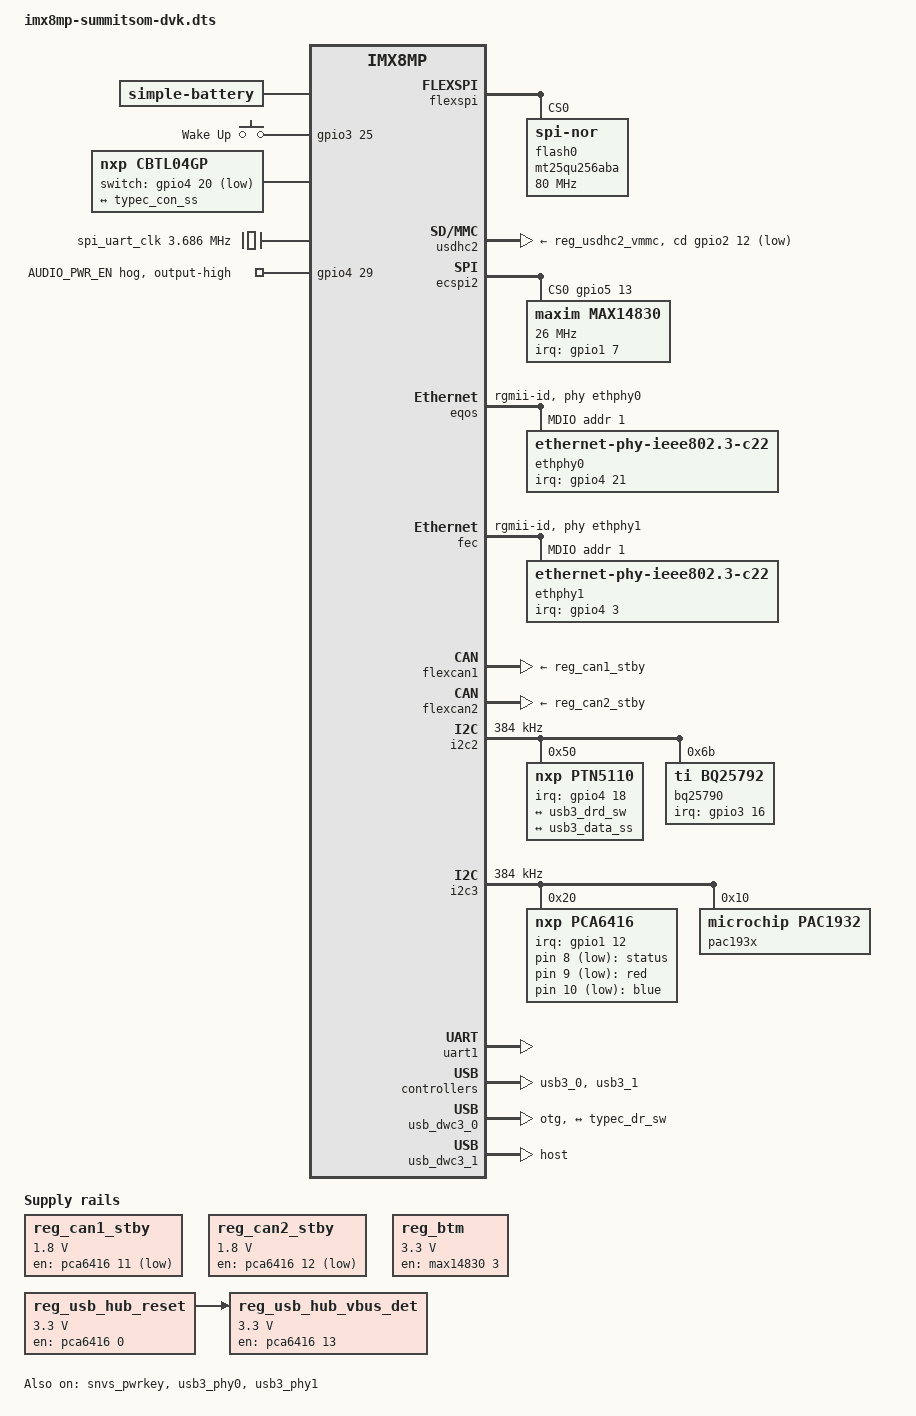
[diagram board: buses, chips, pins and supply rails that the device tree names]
// SPDX-License-Identifier: LicenseRef-Ezurio-Clause
/*
 * Copyright 2021 Ezurio
 */

/dts-v1/;

#include <dt-bindings/net/ti-dp83867.h>

#include "imx8mp-summitsom.dtsi"
#include "imx8mp-summitsom-sound.dtsi"

/ {
	aliases {
		gpio5 = &pca6416;
		gpio6 = &max14830;
	};

	bat: battery {
		compatible = "simple-battery";
		constant-charge-current-max-microamp = <3000000>;
		constant-charge-voltage-max-microvolt = <8400000>;
		precharge-current-microamp = <932000>;
		charge-term-current-microamp = <120000>;
	};

	leds: leds {
		compatible = "gpio-leds";

		status {
			label = "status";
			gpios = <&pca6416 8 GPIO_ACTIVE_LOW>;
			default-state = "on"; /* LED GREEN */
		};

		red {
			label = "red";
			gpios = <&pca6416 9 GPIO_ACTIVE_LOW>;
			default-state = "off";
		};

		blue {
			label = "blue";
			gpios = <&pca6416 10 GPIO_ACTIVE_LOW>;
			default-state = "off";
		};
	};

	gpio_charger {
		compatible = "gpio-of-helper";

		pinctrl-names = "default";
		pinctrl-0 = <&pinctrl_bq25790_misc>;

		charge_enable {
			gpio-name = "charge_enable";
			gpio = <&gpio1 14 GPIO_ACTIVE_HIGH>;
			output;
			init-low;
		};
	};

	gpio {
		compatible = "gpio-of-helper";

		bt_boot_status {
			gpio-name = "bt_boot_status";
			gpio = <&max14830 13 GPIO_ACTIVE_HIGH>;
			input;
		};

		bt_nautorun {
			gpio-name = "bt_nautorun";
			gpio = <&max14830 12 GPIO_ACTIVE_HIGH>;
			output;
			init-low;
		};

		bt_reset {
			gpio-name = "bt_reset";
			gpio = <&max14830 11 GPIO_ACTIVE_HIGH>;
			output;
			init-low;
		};

		ser_rs485_hd {
			gpio-name = "ser_rs485_hd";
			gpio = <&max14830 9 GPIO_ACTIVE_HIGH>;
			output;
			init-high;
		};

		ser_nrs232 {
			gpio-name = "ser_nrs232";
			gpio = <&max14830 7 GPIO_ACTIVE_HIGH>;
			output;
			init-low;
		};

		ser_term {
			gpio-name = "ser_term";
			gpio = <&max14830 6 GPIO_ACTIVE_HIGH>;
			output;
			init-low;
		};

		ser_nreset {
			gpio-name = "ser_nreset";
			gpio = <&max14830 8 GPIO_ACTIVE_HIGH>;
			output;
			init-high;
		};

		lte_power {
			gpio-name = "lte_power";
			gpio = <&max14830 1 GPIO_ACTIVE_HIGH>;
			output;
			init-low;
		};

		lte_on {
			gpio-name = "lte_on";
			gpio = <&pca6416 3 GPIO_ACTIVE_HIGH>;
			output;
			init-low;
		};

		lte_reset {
			gpio-name = "lte_reset";
			gpio = <&pca6416 4 GPIO_ACTIVE_HIGH>;
			output;
			init-low;
		};

		lte_airplane {
			gpio-name = "lte_airplane";
			gpio = <&pca6416 5 GPIO_ACTIVE_HIGH>;
			output;
			init-low;
		};

		lte_wakeup {
			gpio-name = "lte_wakeup";
			gpio = <&pca6416 6 GPIO_ACTIVE_HIGH>;
			output;
			init-low;
		};

		poe_type4_det {
			gpio-name = "poe_type4_det";
			gpio = <&pca6416 1 GPIO_ACTIVE_HIGH>;
			input;
		};

		poe_type2_det {
			gpio-name = "poe_type2_det";
			gpio = <&pca6416 2 GPIO_ACTIVE_HIGH>;
			input;
		};
	};

	system_wakeup {
		compatible = "gpio-keys";
		pinctrl-names = "default";
		pinctrl-0 = <&pinctrl_wakeup_keys>;

		wake-up {
			label = "Wake Up";
			interrupts-extended = <&gpio3 25 IRQ_TYPE_EDGE_FALLING>;
			interrupt-names = "irq";
			linux,code = <KEY_WAKEUP>;
			wakeup-source;
		};
	};

	reg_can1_stby: regulator-can1-stby {
		compatible = "regulator-fixed";
		regulator-name = "can1-stby";
		regulator-min-microvolt = <1800000>;
		regulator-max-microvolt = <1800000>;
		gpio = <&pca6416 11 GPIO_ACTIVE_HIGH>;
		enable-active-low;
	};

	reg_can2_stby: regulator-can2-stby {
		compatible = "regulator-fixed";
		regulator-name = "can2-stby";
		regulator-min-microvolt = <1800000>;
		regulator-max-microvolt = <1800000>;
		gpio = <&pca6416 12 GPIO_ACTIVE_HIGH>;
		enable-active-low;
	};

/*
	reg_lte: regulator-lte {
		compatible = "regulator-fixed";
		regulator-name = "VDDLTE";
		regulator-min-microvolt = <3800000>;
		regulator-max-microvolt = <3800000>;
		gpio = <&max14830 1 GPIO_ACTIVE_HIGH>;
		enable-active-high;
		regulator-always-on;
	};
*/

	reg_btm: regulator-btm {
		compatible = "regulator-fixed";
		regulator-name = "VDDBTM";
		regulator-min-microvolt = <3300000>;
		regulator-max-microvolt = <3300000>;
		gpio = <&max14830 3 GPIO_ACTIVE_HIGH>;
		enable-active-high;
		regulator-always-on;
	};

	reg_usb_hub_reset: regulator-usb_hub_reset {
		compatible = "regulator-fixed";
		regulator-name = "USB Hub Reset";
		regulator-min-microvolt = <3300000>;
		regulator-max-microvolt = <3300000>;
		gpio = <&pca6416 0 GPIO_ACTIVE_HIGH>;
		enable-active-high;

		startup-delay-us = <1000>;
		off-on-delay-us = <5>;
	};

	reg_usb_hub_vbus_det: regulator-usb_hub_vbus_det {
		compatible = "regulator-fixed";
		regulator-name = "USB Hub VBus Detect";
		regulator-min-microvolt = <3300000>;
		regulator-max-microvolt = <3300000>;
		gpio = <&pca6416 13 GPIO_ACTIVE_HIGH>;
		enable-active-high;

		vin-supply = <&reg_usb_hub_reset>;
	};

	cbtl04gp {
		compatible = "nxp,cbtl04gp";
		pinctrl-names = "default";
		pinctrl-0 = <&pinctrl_typec_mux>;
		switch-gpios = <&gpio4 20 GPIO_ACTIVE_LOW>;
		orientation-switch;

		port {
			usb3_data_ss: endpoint {
				remote-endpoint = <&typec_con_ss>;
			};
		};
	};

	clocks {
		spi_uart_clk: osc_max14830 {
			compatible = "fixed-clock";
			#clock-cells = <0>;
			clock-frequency = <3686400>;
		};
	};
};

&flexspi {
	pinctrl-names = "default";
	pinctrl-0 = <&pinctrl_flexspi0>;
	status = "okay";

	flash0: mt25qu256aba@0 {
		compatible = "jedec,spi-nor";
		reg = <0>;
		#address-cells = <1>;
		#size-cells = <1>;
		spi-max-frequency = <80000000>;
		spi-tx-bus-width = <1>;
		spi-rx-bus-width = <4>;
	};
};

&reg_usdhc2_vmmc {
	status = "okay";
};

&usdhc2 {
	pinctrl-names = "default", "state_100mhz", "state_200mhz";
	pinctrl-0 = <&pinctrl_usdhc2>, <&pinctrl_usdhc2_cd>;
	pinctrl-1 = <&pinctrl_usdhc2_100mhz>, <&pinctrl_usdhc2_cd>;
	pinctrl-2 = <&pinctrl_usdhc2_200mhz>, <&pinctrl_usdhc2_cd>;

	cd-gpios = <&gpio2 12 GPIO_ACTIVE_LOW>;

	vmmc-supply = <&reg_usdhc2_vmmc>;

	status = "okay";
};

&ecspi2 {
	pinctrl-names = "default";
	pinctrl-0 = <&pinctrl_ecspi2 &pinctrl_ecspi2_cs>;

	num-cs = <1>;
	cs-gpios = <&gpio5 13 GPIO_ACTIVE_HIGH>;

	status = "okay";

	max14830: max14830@0 {
		reg = <0>;

		compatible = "maxim,max14830";

		clocks = <&spi_uart_clk>;
		clock-names = "xtal";

		pinctrl-names = "default";
		pinctrl-0 = <&pinctrl_max14830>;

		interrupts-extended = <&gpio1 7 IRQ_TYPE_LEVEL_LOW>;

		gpio-controller;
		#gpio-cells = <2>;

		spi-max-frequency = <26000000>;
	};
};

&eqos {
	pinctrl-names = "default";
	pinctrl-0 = <&pinctrl_eqos>;
	phy-mode = "rgmii-id";
	phy-handle = <&ethphy0>;
	status = "okay";

	mdio {
		compatible = "snps,dwmac-mdio";
		#address-cells = <1>;
		#size-cells = <0>;

		reset-gpios = <&gpio4 22 GPIO_ACTIVE_LOW>;
		reset-delay-us = <150>;
		reset-post-delay-us = <300>;

		ethphy0: ethernet-phy@1 {
			compatible = "ethernet-phy-ieee802.3-c22";
			reg = <1>;

			pinctrl-names = "default";
			pinctrl-0 = <&pinctrl_eqos_phy>;

			interrupt-parent = <&gpio4>;
			interrupts = <21 IRQ_TYPE_EDGE_FALLING>;

			ti,rx-internal-delay = <DP83867_RGMIIDCTL_2_00_NS>;
			ti,tx-internal-delay = <DP83867_RGMIIDCTL_2_00_NS>;
			ti,fifo-depth = <DP83867_PHYCR_FIFO_DEPTH_4_B_NIB>;
		};
	};
};

&fec {
	pinctrl-names = "default";
	pinctrl-0 = <&pinctrl_fec>;
	phy-mode = "rgmii-id";
	phy-handle = <&ethphy1>;
	fsl,magic-packet;
	status = "okay";

	mdio {
		#address-cells = <1>;
		#size-cells = <0>;

		reset-gpios = <&gpio4 2 GPIO_ACTIVE_LOW>;
		reset-delay-us = <150>;
		reset-post-delay-us = <300>;

		ethphy1: ethernet-phy@1 {
			compatible = "ethernet-phy-ieee802.3-c22";
			reg = <1>;

			pinctrl-names = "default";
			pinctrl-0 = <&pinctrl_fec_phy>;

			interrupt-parent = <&gpio4>;
			interrupts = <3 IRQ_TYPE_EDGE_FALLING>;

			ti,rx-internal-delay = <DP83867_RGMIIDCTL_2_00_NS>;
			ti,tx-internal-delay = <DP83867_RGMIIDCTL_2_00_NS>;
			ti,fifo-depth = <DP83867_PHYCR_FIFO_DEPTH_4_B_NIB>;
		};
	};
};

&flexcan1 {
	pinctrl-names = "default";
	pinctrl-0 = <&pinctrl_flexcan1>;
	xceiver-supply = <&reg_can1_stby>;
	status = "okay";
};

&flexcan2 {
	pinctrl-names = "default";
	pinctrl-0 = <&pinctrl_flexcan2>;
	xceiver-supply = <&reg_can2_stby>;
	status = "okay";
};

&i2c2 {
	clock-frequency = <384000>;
	pinctrl-names = "default";
	pinctrl-0 = <&pinctrl_i2c2>;
	status = "okay";

	#address-cells = <1>;
	#size-cells = <0>;

	ptn5110: tcpc@50 {
		compatible = "nxp,ptn5110";
		pinctrl-names = "default";
		pinctrl-0 = <&pinctrl_typec>;
		reg = <0x50>;
		interrupts-extended = <&gpio4 18 IRQ_TYPE_LEVEL_LOW>;
		interrupt-names = "irq";

		port {
			typec_dr_sw: endpoint {
				remote-endpoint = <&usb3_drd_sw>;
			};
		};

		usb_con: connector {
			compatible = "usb-c-connector";
			label = "USB-C";
			power-role = "dual";
			data-role = "dual";
			try-power-role = "sink";
			source-pdos = <PDO_FIXED(5000, 3000, PDO_FIXED_USB_COMM)>;
			sink-pdos = <PDO_FIXED(5000, 3000, PDO_FIXED_USB_COMM)
				     PDO_VAR(5000, 20000, 3000)>;
			op-sink-microwatt = <15000000>;
			self-powered;

			ports {
				#address-cells = <1>;
				#size-cells = <0>;

				port@1 {
					reg = <1>;
					typec_con_ss: endpoint {
						remote-endpoint = <&usb3_data_ss>;
					};
				};
			};
		};
	};

	bq25790: charger@6b {
		reg = <0x6b>;

		compatible = "ti,bq25792";

		pinctrl-names = "default";
		pinctrl-0 = <&pinctrl_bq25790>;

		interrupt-parent = <&gpio3>;
		interrupts = <16 IRQ_TYPE_EDGE_FALLING>;

		ti,watchdog-timeout-ms = <2000>;
		input-current-limit-microamp = <2000000>;
		input-voltage-limit-microvolt = <4500000>;
		monitored-battery = <&bat>;
	};
};

&i2c3 {
	clock-frequency = <384000>;
	pinctrl-names = "default";
	pinctrl-0 = <&pinctrl_i2c3>;
	status = "okay";

	#address-cells = <1>;
	#size-cells = <0>;

	pca6416: gpio@20 {
		compatible = "nxp,pca6416";
		reg = <0x20>;

		gpio-controller;
		#gpio-cells = <2>;

		interrupt-controller;
		#interrupt-cells = <2>;

		pinctrl-names = "default";
		pinctrl-0 = <&pinctrl_pca6416>;

		interrupts-extended = <&gpio1 12 IRQ_TYPE_EDGE_FALLING>;
		interrupt-names = "irq";
	};

	pac193x@10 {
		compatible = "microchip,pac1932";
		reg = <0x10>;

		#address-cells = <1>;
		#size-cells = <0>;

		ch1: channel1 {
			reg = <1>;
			shunt-resistor-micro-ohms = <33000>; /* shunt resistor is 33 mOhm */
			label = "MODULE";
		};

		ch2: channel2 {
			reg = <2>;
			shunt-resistor-micro-ohms = <33000>; /* shunt resistor is 33 mOhm */
			label = "BATTERY";
			bipolar;
		};
	};
};

&snvs_pwrkey {
	status = "okay";
};

&uart1 {
	pinctrl-names = "default";
	pinctrl-0 = <&pinctrl_uart1>;

	uart-has-rtscts;
	status = "okay";
};

&usb3_phy0 {
	vbus-power-supply = <&ptn5110>;

	fsl,phy-tx-vref-tune = <0xe>;
	fsl,phy-tx-preemp-amp-tune = <3>;
	fsl,phy-tx-vboost-level = <5>;
	fsl,phy-comp-dis-tune = <7>;
	fsl,pcs-tx-deemph-3p5db = <0x21>;
	fsl,phy-pcs-tx-swing-full = <0x7f>;

	status = "okay";
};

&usb3_0 {
	status = "okay";
};

&usb_dwc3_0 {
	dr_mode = "otg";
	hnp-disable;
	srp-disable;
	adp-disable;
	usb-role-switch;
	role-switch-default-mode = "none";
	snps,dis-u1-entry-quirk;
	snps,dis-u2-entry-quirk;
	status = "okay";

	port {
		usb3_drd_sw: endpoint {
			remote-endpoint = <&typec_dr_sw>;
		};
	};
};

&usb3_phy1 {
	vbus-supply = <&reg_usb_hub_vbus_det>;

	fsl,phy-tx-preemp-amp-tune = <3>;
	fsl,phy-tx-vref-tune = <0xb>;

	status = "okay";
};

&usb3_1 {
	status = "okay";
};

&usb_dwc3_1 {
	dr_mode = "host";
	status = "okay";
};

&gpio4 {
	pinctrl-names = "default";
	pinctrl-0 = <&pinctrl_audpwr>;

	/* workaround for i2c bus lockup */
	audpwr-hog {
		gpio-hog;
		gpios = <29 GPIO_ACTIVE_HIGH>;
		output-high;
		line-name = "AUDIO_PWR_EN";
	};
};


&iomuxc {
	pinctrl_usdhc2_cd: usdhc2-cd-grp {
		fsl,pins = <
			MX8MP_IOMUXC_SD2_CD_B__GPIO2_IO12		0x000001c4
		>;
	};

	pinctrl_ecspi2: ecspi2-grp {
		fsl,pins = <
			MX8MP_IOMUXC_ECSPI2_SCLK__ECSPI2_SCLK		0x00000092
			MX8MP_IOMUXC_ECSPI2_MOSI__ECSPI2_MOSI		0x00000092
			MX8MP_IOMUXC_ECSPI2_MISO__ECSPI2_MISO		0x00000092
		>;
	};

	pinctrl_ecspi2_cs: ecspi2-cs-grp {
		fsl,pins = <
			MX8MP_IOMUXC_ECSPI2_SS0__GPIO5_IO13		0x40000112
		>;
	};

	pinctrl_max14830: max14830-grp {
		fsl,pins = <
			MX8MP_IOMUXC_GPIO1_IO07__GPIO1_IO07		0x000001D0
		>;
	};

	pinctrl_eqos: eqos-grp {
		fsl,pins = <
			MX8MP_IOMUXC_ENET_MDC__ENET_QOS_MDC		0x00000002
			MX8MP_IOMUXC_ENET_MDIO__ENET_QOS_MDIO		0x00000082
			MX8MP_IOMUXC_ENET_RD0__ENET_QOS_RGMII_RD0	0x00000090
			MX8MP_IOMUXC_ENET_RD1__ENET_QOS_RGMII_RD1	0x00000090
			MX8MP_IOMUXC_ENET_RD2__ENET_QOS_RGMII_RD2	0x00000090
			MX8MP_IOMUXC_ENET_RD3__ENET_QOS_RGMII_RD3	0x00000090
			MX8MP_IOMUXC_ENET_RXC__CCM_ENET_QOS_CLOCK_GENERATE_RX_CLK	0x00000090
			MX8MP_IOMUXC_ENET_RX_CTL__ENET_QOS_RGMII_RX_CTL	0x00000090
			MX8MP_IOMUXC_ENET_TD0__ENET_QOS_RGMII_TD0	0x00000016
			MX8MP_IOMUXC_ENET_TD1__ENET_QOS_RGMII_TD1	0x00000016
			MX8MP_IOMUXC_ENET_TD2__ENET_QOS_RGMII_TD2	0x00000016
			MX8MP_IOMUXC_ENET_TD3__ENET_QOS_RGMII_TD3	0x00000016
			MX8MP_IOMUXC_ENET_TX_CTL__ENET_QOS_RGMII_TX_CTL	0x00000016
			MX8MP_IOMUXC_ENET_TXC__CCM_ENET_QOS_CLOCK_GENERATE_TX_CLK	0x00000016
			MX8MP_IOMUXC_SAI2_RXC__GPIO4_IO22		0x00000000
		>;
	};

	pinctrl_eqos_phy: eqos-phy-grp {
		fsl,pins = <
			MX8MP_IOMUXC_SAI2_RXFS__GPIO4_IO21		0x000001C0
		>;
	};

	pinctrl_fec: fec-grp {
		fsl,pins = <
			MX8MP_IOMUXC_SAI1_RXD2__ENET1_MDC		0x00000002
			MX8MP_IOMUXC_SAI1_RXD3__ENET1_MDIO		0x00000082
			MX8MP_IOMUXC_SAI1_RXD4__ENET1_RGMII_RD0		0x00000090
			MX8MP_IOMUXC_SAI1_RXD5__ENET1_RGMII_RD1		0x00000090
			MX8MP_IOMUXC_SAI1_RXD6__ENET1_RGMII_RD2		0x00000090
			MX8MP_IOMUXC_SAI1_RXD7__ENET1_RGMII_RD3		0x00000090
			MX8MP_IOMUXC_SAI1_TXC__ENET1_RGMII_RXC		0x00000090
			MX8MP_IOMUXC_SAI1_TXFS__ENET1_RGMII_RX_CTL	0x00000090
			MX8MP_IOMUXC_SAI1_TXD0__ENET1_RGMII_TD0		0x00000016
			MX8MP_IOMUXC_SAI1_TXD1__ENET1_RGMII_TD1		0x00000016
			MX8MP_IOMUXC_SAI1_TXD2__ENET1_RGMII_TD2		0x00000016
			MX8MP_IOMUXC_SAI1_TXD3__ENET1_RGMII_TD3		0x00000016
			MX8MP_IOMUXC_SAI1_TXD4__ENET1_RGMII_TX_CTL	0x00000016
			MX8MP_IOMUXC_SAI1_TXD5__ENET1_RGMII_TXC		0x00000016
			MX8MP_IOMUXC_SAI1_RXD1__GPIO4_IO03		0x00000000
		>;
	};

	pinctrl_fec_phy: fec-phy-grp {
		fsl,pins = <
			MX8MP_IOMUXC_SAI1_RXD0__GPIO4_IO02		0x000001C0
		>;
	};

	pinctrl_flexcan1: flexcan1-grp {
		fsl,pins = <
			MX8MP_IOMUXC_SPDIF_RX__CAN1_RX			0x000001d4
			MX8MP_IOMUXC_SPDIF_TX__CAN1_TX			0x000001d4
		>;
	};

	pinctrl_flexcan2: flexcan2-grp {
		fsl,pins = <
			MX8MP_IOMUXC_SAI2_MCLK__CAN2_RX			0x000001d4
			MX8MP_IOMUXC_SAI5_RXD3__CAN2_TX			0x000001d4
		>;
	};

	pinctrl_flexspi0: flexspi0-grp {
		fsl,pins = <
			MX8MP_IOMUXC_NAND_ALE__FLEXSPI_A_SCLK		0x000001c2
			MX8MP_IOMUXC_NAND_CE0_B__FLEXSPI_A_SS0_B	0x00000082
			MX8MP_IOMUXC_NAND_DATA00__FLEXSPI_A_DATA00	0x00000082
			MX8MP_IOMUXC_NAND_DATA01__FLEXSPI_A_DATA01	0x00000082
			MX8MP_IOMUXC_NAND_DATA02__FLEXSPI_A_DATA02	0x00000082
			MX8MP_IOMUXC_NAND_DATA03__FLEXSPI_A_DATA03	0x00000082
		>;
	};

	pinctrl_i2c2: i2c2-grp {
		fsl,pins = <
			MX8MP_IOMUXC_I2C2_SCL__I2C2_SCL			0x400001c2
			MX8MP_IOMUXC_I2C2_SDA__I2C2_SDA			0x400001c2
		>;
	};

	pinctrl_i2c2_gpio: i2c2-gpio-grp {
		fsl,pins = <
			MX8MP_IOMUXC_I2C2_SCL__GPIO5_IO16        	0x1c2
			MX8MP_IOMUXC_I2C2_SDA__GPIO5_IO17        	0x1c2
		>;
	};

	pinctrl_i2c3: i2c3-grp {
		fsl,pins = <
			MX8MP_IOMUXC_I2C3_SCL__I2C3_SCL			0x400001c2
			MX8MP_IOMUXC_I2C3_SDA__I2C3_SDA			0x400001c2
		>;
	};

	pinctrl_i2c3_gpio: i2c3-gpio-grp {
		fsl,pins =
			<MX8MP_IOMUXC_I2C3_SCL__GPIO5_IO18		0x400001c2>,
			<MX8MP_IOMUXC_I2C3_SDA__GPIO5_IO19		0x400001c2>;
	};
	
	pinctrl_pca6416: pca6416-grp {
		fsl,pins = <
			MX8MP_IOMUXC_GPIO1_IO12__GPIO1_IO12		0x00000080
		>;
	};

	pinctrl_typec: typec1-grp {
		fsl,pins = <
			MX8MP_IOMUXC_SAI1_TXD6__GPIO4_IO18		0x000001c4
		>;
	};

	pinctrl_typec_mux: typec1mux-grp {
		fsl,pins = <
			MX8MP_IOMUXC_SAI1_MCLK__GPIO4_IO20		0x00000016
		>;
	};

	pinctrl_bq25790_misc: bq25790-misc-grp {
		fsl,pins = <
			MX8MP_IOMUXC_GPIO1_IO14__GPIO1_IO14		0x40000106
		>;
	};

	pinctrl_bq25790: bq25790-grp {
		fsl,pins = <
			MX8MP_IOMUXC_NAND_READY_B__GPIO3_IO16		0x400001C6
		>;
	};

	pinctrl_uart1: uart1-grp {
		fsl,pins = <
			MX8MP_IOMUXC_UART1_RXD__UART1_DCE_RX		0x000001C0
			MX8MP_IOMUXC_UART1_TXD__UART1_DCE_TX		0x000001C0
			MX8MP_IOMUXC_UART3_RXD__UART1_DCE_CTS		0x000001C0
			MX8MP_IOMUXC_UART3_TXD__UART1_DCE_RTS		0x000001C0
		>;
	};

	pinctrl_wakeup_keys: wakeup_keys-grp {
		fsl,pins = <
			MX8MP_IOMUXC_SAI5_MCLK__GPIO3_IO25		0x000001C6
		>;
	};

	pinctrl_audpwr: audpwrgrp {
		fsl,pins = <
			MX8MP_IOMUXC_SAI3_RXC__GPIO4_IO29		0x00000002
		>;
	};
};
